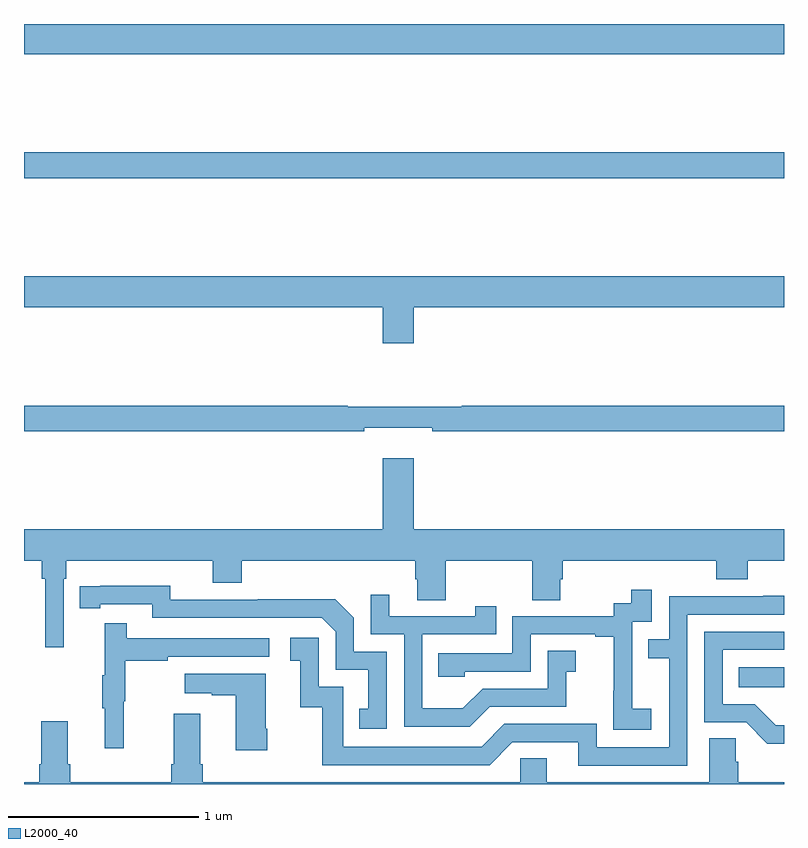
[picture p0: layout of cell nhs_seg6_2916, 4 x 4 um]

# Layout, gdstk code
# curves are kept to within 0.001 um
import gdstk
lib = gdstk.Library(unit=1e-6, precision=1e-09)
def R(c, l, rs):  # rectangles x0, y0, x1, y1
    for r in rs: c.add(gdstk.rectangle(r[:2], r[2:], *l))
def P(c, l, *ps):  # polygons
    for p in ps: c.add(gdstk.Polygon(p, *l))
L2000_40 = (2000, 40)

nhs_seg6_2916 = lib.new_cell('nhs_seg6_2916')
R(nhs_seg6_2916, L2000_40, [(286.762,940.01,287,940.114), (283,942.688,287,942.824), (283,943.34,287,943.5)])
P(nhs_seg6_2916, L2000_40, [(285.052,942.008),(287,942.008),(287,942.172),(283,942.172),(283,942.008),(284.888,942.008),(284.888,941.82),(285.052,941.82)],
  [(284.792,941.375),(285.148,941.375),(285.148,941.356),(287,941.356),(287,941.492),(285.305,941.492),(285.305,941.485),(284.705,941.485),(284.705,941.492),(283,941.492),(283,941.356),(284.792,941.356)],
  [(283.209,940.58),(283.223,940.58),(283.223,940.676),(283.994,940.676),(283.994,940.559),(284.147,940.559),(284.147,940.676),(285.059,940.676),(285.059,940.578),(285.071,940.578),(285.071,940.468),(285.219,940.468),(285.219,940.676),(285.676,940.676),(285.676,940.468),(285.823,940.468),(285.823,940.578),(285.836,940.578),(285.836,940.676),(286.643,940.676),(286.643,940.577),(286.808,940.577),(286.808,940.676),(287,940.676),(287,940.84),(285.052,940.84),(285.052,941.215),(284.888,941.215),(284.888,940.84),(283,940.84),(283,940.676),(283.093,940.676),(283.093,940.58),(283.112,940.58),(283.112,940.221),(283.209,940.221)],
  [(284.91,940.197),(284.736,940.197),(284.736,940.374),(284.638,940.472),(284.23,940.472),(284.23,940.47),(283.77,940.47),(283.77,940.543),(283.294,940.542),(283.294,940.426),(283.402,940.426),(283.402,940.446),(283.674,940.446),(283.674,940.374),(284.568,940.374),(284.64,940.302),(284.64,940.101),(284.813,940.101),(284.813,939.897),(284.764,939.897),(284.764,939.792),(284.91,939.792)],
  [(286.3,939.895),(286.202,939.895),(286.202,940.124),(286.2,940.124),(286.2,940.353),(286.305,940.353),(286.305,940.522),(286.197,940.522),(286.197,940.452),(286.104,940.452),(286.104,940.383),(285.57,940.383),(285.57,940.188),(285.181,940.188),(285.181,940.065),(285.321,940.065),(285.321,940.092),(285.666,940.092),(285.666,940.287),(286.007,940.287),(286.007,940.275),(286.103,940.275),(286.103,939.991),(286.102,939.991),(286.102,939.785),(286.3,939.785)],
  [(285.451,939.906),(285.855,939.906),(285.855,940.091),(285.904,940.091),(285.904,940.201),(285.756,940.201),(285.756,940.002),(285.414,940.002),(285.31,939.898),(285.096,939.898),(285.096,940.287),(285.485,940.287),(285.485,940.435),(285.374,940.435),(285.374,940.383),(284.923,940.383),(284.923,940.495),(284.826,940.495),(284.826,940.287),(285,940.287),(285,939.801),(285.346,939.801)],
  [(286.491,940.392),(287,940.392),(287,940.49),(286.891,940.49),(286.891,940.488),(286.395,940.488),(286.395,940.263),(286.285,940.263),(286.285,940.162),(286.395,940.162),(286.395,939.693),(286.014,939.693),(286.014,939.816),(285.528,939.816),(285.408,939.696),(284.679,939.696),(284.679,940.011),(284.55,940.011),(284.55,940.27),(284.4,940.27),(284.4,940.149),(284.453,940.149),(284.453,939.903),(284.571,939.903),(284.571,939.6),(285.45,939.6),(285.57,939.72),(285.917,939.72),(285.917,939.597),(286.491,939.597)],
  [(283.526,939.936),(283.534,939.936),(283.534,940.15),(283.757,940.15),(283.757,940.17),(284.29,940.17),(284.29,940.266),(283.541,940.266),(283.541,940.345),(283.424,940.345),(283.424,940.073),(283.413,940.073),(283.413,939.899),(283.424,939.899),(283.424,939.687),(283.526,939.687)],
  [(287,939.81),(286.957,939.81),(286.846,939.921),(286.677,939.921),(286.677,940.206),(287,940.206),(287,940.302),(286.581,940.302),(286.581,939.825),(286.8,939.825),(286.913,939.713),(287,939.713)],
  [(284.28,939.79),(284.272,939.79),(284.272,940.081),(283.845,940.081),(283.845,939.977),(283.988,939.977),(283.988,939.967),(284.114,939.967),(284.114,939.678),(284.28,939.678)],
  [(283.787,939.871),(283.787,939.604),(283.775,939.604),(283.775,939.508),(283.244,939.508),(283.244,939.604),(283.231,939.604),(283.231,939.829),(283.091,939.829),(283.091,939.604),(283.079,939.604),(283.079,939.508),(283,939.508),(283,939.5),(287,939.5),(287,939.508),(286.76,939.508),(286.76,939.617),(286.746,939.617),(286.746,939.74),(286.607,939.74),(286.607,939.508),(285.751,939.508),(285.751,939.635),(285.612,939.635),(285.612,939.508),(283.94,939.508),(283.94,939.604),(283.927,939.604),(283.927,939.871)])

lib.write_gds('nhs_seg6_2916.gds')
